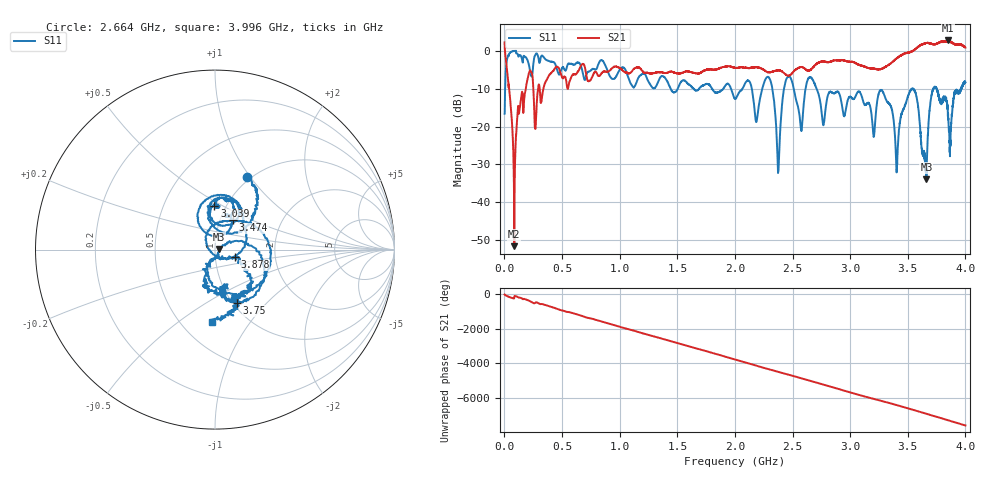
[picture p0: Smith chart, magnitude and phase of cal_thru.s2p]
!Created with skrf (http://scikit-rf.org).
# GHz S RI R 50.0
!freq ReS11 ImS11 ReS21 ImS21 ReS12 ImS12 ReS22 ImS22
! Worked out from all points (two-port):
!   4000 points, 1 MHz to 4 GHz, reference 50 ohm
!   highest |S21| = 2.87 dB at 3.846 GHz (marker M1); lowest = -51.7 dB at 85 MHz (marker M2)
!   |S21| within 3 dB of the highest: start of sweep to 4.481 MHz; 3.529 GHz to end of sweep (the widest 2 of 4)
!   lowest |S11| = -34.0 dB at 3.662 GHz (marker M3), VSWR 1.04, Z = 52 + j0.331 ohm
!   |S11| at or under -10 dB: 2.71 GHz to 3.534 GHz (824 MHz wide, 26.4 % of centre); 3.549 GHz to 3.72 GHz (171 MHz wide, 4.7 % of centre); 3.752 GHz to 3.961 GHz (208.7 MHz wide, 5.41 % of centre) (the widest 3 of 17)
!   S12 and S22 are empty: the file has one direction only
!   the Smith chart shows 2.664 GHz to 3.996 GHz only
!   S11 on the Smith chart (normalised r, x): 2.664 GHz: 0.96, +0.97; 3.039 GHz: 0.89, +0.45; 3.474 GHz: 1.15, +0.39; 3.75 GHz: 1.04, -0.69; 3.878 GHz: 1.24, -0.11; 3.996 GHz: 0.70, -0.67
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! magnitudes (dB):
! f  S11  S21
! 1 MHz  -16.5  2.4
! 85 MHz  0.1  -51.7
! 218 MHz  -4.5  -5.3
! 668 MHz  -4.3  -3.6
! 1.334 GHz  -8.1  -5.5
! 2.001 GHz  -12.6  -4.4
! 2.294 GHz  -7.0  -5.6
! 2.377 GHz  -31.8  -5.1
! 2.45 GHz  -7.1  -6.3
! 2.572 GHz  -20.3  -4.2
! 2.664 GHz  -7.1  -4.7
! 2.667 GHz  -7.2  -4.6
! 3.039 GHz  -12.4  -3.0
! 3.334 GHz  -13.8  -3.7
! 3.404 GHz  -31.8  -1.9
! 3.474 GHz  -14.3  -0.5
! 3.662 GHz  -34.0  2.2
! 3.75 GHz  -9.9  2.1
! 3.846 GHz  -14.5  2.9
! 3.878 GHz  -18.6  2.3
! 3.996 GHz  -7.9  1.2
! 4 GHz  -8.3  1.0
